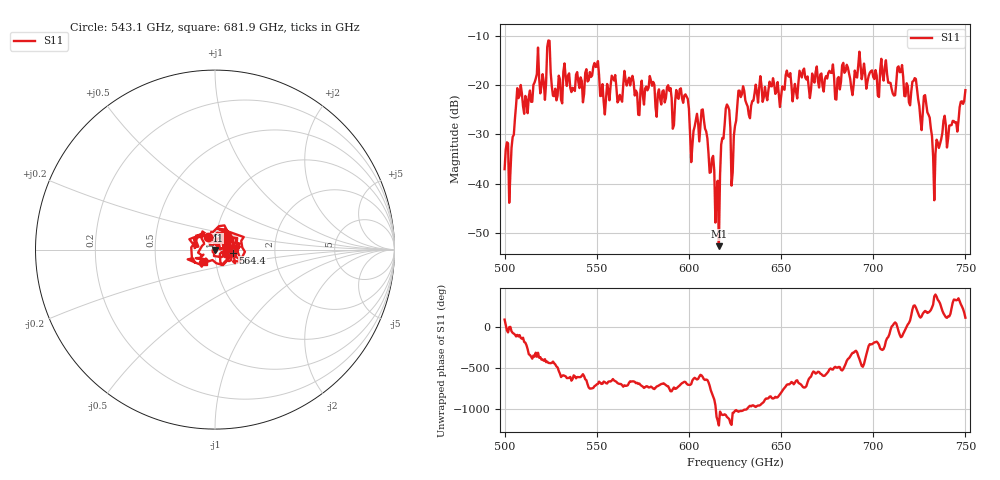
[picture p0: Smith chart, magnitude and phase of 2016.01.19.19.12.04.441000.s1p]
!Created with skrf (http://scikit-rf.org).
# GHz S RI R 50.0
!freq ReS11 ImS11
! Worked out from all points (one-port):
!   401 points, 500 GHz to 750 GHz, reference 50 ohm
!   lowest |S11| = -52.6 dB at 616.2 GHz (marker M1), VSWR 1.00, Z = 49.9 - j0.189 ohm
!   |S11| at or under -10 dB: start of sweep to end of sweep
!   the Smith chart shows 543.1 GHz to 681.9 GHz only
!   S11 on the Smith chart (normalised r, x): 543.1 GHz: 0.91, +0.13; 564.4 GHz: 1.22, -0.04; 681.9 GHz: 0.88, -0.12
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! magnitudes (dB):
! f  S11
! 500 GHz  -37.0
! 503.8 GHz  -32.7
! 508.1 GHz  -22.2
! 523.8 GHz  -11.0
! 526.9 GHz  -22.3
! 531.2 GHz  -23.7
! 543.1 GHz  -21.8
! 549.4 GHz  -16.3
! 553.1 GHz  -19.8
! 562.5 GHz  -22.0
! 564.4 GHz  -20.0
! 593.8 GHz  -22.5
! 598.8 GHz  -22.4
! 601.9 GHz  -32.3
! 608.1 GHz  -27.1
! 615 GHz  -41.5
! 616.2 GHz  -52.6
! 620.6 GHz  -23.9
! 625 GHz  -28.3
! 628.1 GHz  -22.4
! 656.2 GHz  -23.3
! 681.9 GHz  -20.9
! 687.5 GHz  -18.8
! 714.4 GHz  -17.4
! 718.8 GHz  -20.2
! 728.8 GHz  -23.8
! 733.8 GHz  -34.0
! 750 GHz  -21.0
